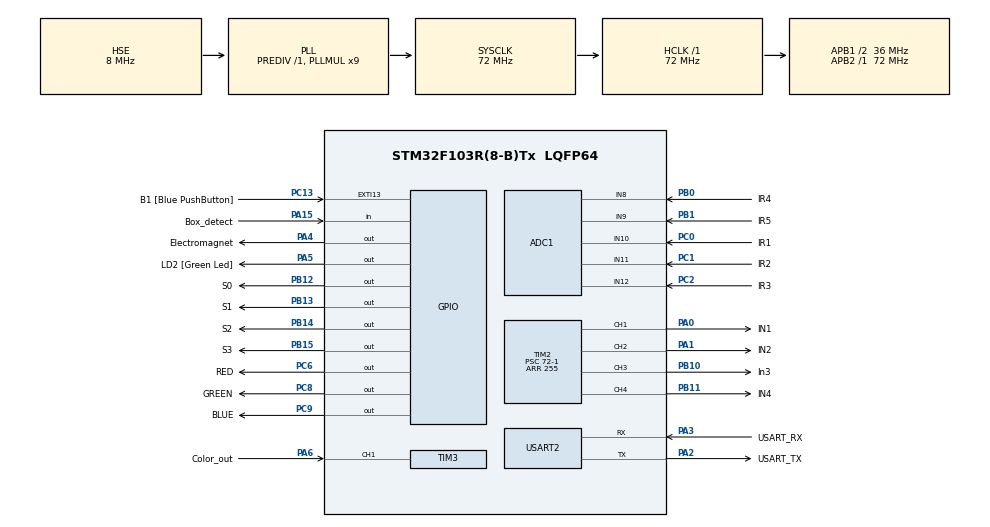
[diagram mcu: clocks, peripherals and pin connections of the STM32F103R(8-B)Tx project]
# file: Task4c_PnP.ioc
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ADC1.Channel-0\#ChannelRegularConversion=ADC_CHANNEL_10
ADC1.Channel-1\#ChannelRegularConversion=ADC_CHANNEL_11
ADC1.Channel-2\#ChannelRegularConversion=ADC_CHANNEL_12
ADC1.Channel-3\#ChannelRegularConversion=ADC_CHANNEL_8
ADC1.Channel-4\#ChannelRegularConversion=ADC_CHANNEL_9
ADC1.ContinuousConvMode=ENABLE
ADC1.NbrOfConversion=5
ADC1.NbrOfConversionFlag=1
ADC1.Rank-0\#ChannelRegularConversion=1
ADC1.Rank-1\#ChannelRegularConversion=2
ADC1.Rank-2\#ChannelRegularConversion=3
ADC1.Rank-3\#ChannelRegularConversion=4
ADC1.Rank-4\#ChannelRegularConversion=5
ADC1.SamplingTime-0\#ChannelRegularConversion=ADC_SAMPLETIME_55CYCLES_5
ADC1.SamplingTime-1\#ChannelRegularConversion=ADC_SAMPLETIME_55CYCLES_5
ADC1.SamplingTime-2\#ChannelRegularConversion=ADC_SAMPLETIME_55CYCLES_5
ADC1.SamplingTime-3\#ChannelRegularConversion=ADC_SAMPLETIME_55CYCLES_5
ADC1.SamplingTime-4\#ChannelRegularConversion=ADC_SAMPLETIME_55CYCLES_5
ADC1.master=1
Dma.ADC1.0.Direction=DMA_PERIPH_TO_MEMORY
Dma.ADC1.0.Instance=DMA1_Channel1
Dma.ADC1.0.MemDataAlignment=DMA_MDATAALIGN_HALFWORD
Dma.ADC1.0.MemInc=DMA_MINC_ENABLE
Dma.ADC1.0.Mode=DMA_CIRCULAR
Dma.ADC1.0.PeriphDataAlignment=DMA_PDATAALIGN_HALFWORD
Dma.ADC1.0.PeriphInc=DMA_PINC_DISABLE
Dma.ADC1.0.Priority=DMA_PRIORITY_LOW
Dma.Request0=ADC1
Mcu.Family=STM32F1
Mcu.Name=STM32F103R(8-B)Tx
Mcu.Package=LQFP64
NVIC.ADC1_2_IRQn=true\:0\:0\:false\:false\:true\:true\:true\:true
NVIC.DMA1_Channel1_IRQn=true\:0\:0\:false\:false\:true\:false\:true\:true
NVIC.EXTI15_10_IRQn=true\:0\:0\:false\:false\:true\:true\:true\:true
NVIC.PriorityGroup=NVIC_PRIORITYGROUP_4
NVIC.TIM3_IRQn=true\:0\:0\:false\:false\:true\:true\:true\:true
PA0-WKUP.GPIO_Label=IN1
PA0-WKUP.Signal=S_TIM2_CH1_ETR
PA1.GPIO_Label=IN2
PA1.Signal=S_TIM2_CH2
PA13.GPIO_Label=TMS
PA13.Mode=Serial_Wire
PA13.Signal=SYS_JTMS-SWDIO
PA14.GPIO_Label=TCK
PA14.Mode=Serial_Wire
PA14.Signal=SYS_JTCK-SWCLK
PA15.GPIO_Label=Box_detect
PA15.Signal=GPIO_Input
PA2.GPIO_Label=USART_TX
PA2.GPIO_Mode=GPIO_MODE_AF_PP
PA2.GPIO_PuPd=GPIO_NOPULL
PA2.GPIO_Speed=GPIO_SPEED_FREQ_LOW
PA2.Mode=Asynchronous
PA2.Signal=USART2_TX
PA3.GPIO_Label=USART_RX
PA3.GPIO_Mode=GPIO_MODE_AF_PP
PA3.GPIO_PuPd=GPIO_NOPULL
PA3.GPIO_Speed=GPIO_SPEED_FREQ_LOW
PA3.Mode=Asynchronous
PA3.Signal=USART2_RX
PA4.GPIO_Label=Electromagnet
PA4.Signal=GPIO_Output
PA5.GPIO_Label=LD2 [Green Led]
PA5.GPIO_ModeDefaultOutputPP=GPIO_MODE_OUTPUT_PP
PA5.GPIO_PuPd=GPIO_NOPULL
PA5.GPIO_Speed=GPIO_SPEED_FREQ_LOW
PA5.Signal=GPIO_Output
PA6.GPIO_Label=Color_out
PA6.Signal=S_TIM3_CH1
PB0.GPIO_Label=IR4
PB0.Signal=ADCx_IN8
PB1.GPIO_Label=IR5
PB1.Signal=ADCx_IN9
PB10.GPIO_Label=In3
PB10.Signal=S_TIM2_CH3
PB11.GPIO_Label=IN4
PB11.Signal=S_TIM2_CH4
PB12.GPIO_Label=S0
PB12.Signal=GPIO_Output
PB13.GPIO_Label=S1
PB13.Signal=GPIO_Output
PB14.GPIO_Label=S2
PB14.Signal=GPIO_Output
PB15.GPIO_Label=S3
PB15.Signal=GPIO_Output
PB3.GPIO_Label=SWO
PB3.Signal=SYS_JTDO-TRACESWO
PC0.GPIO_Label=IR1
PC0.Signal=ADCx_IN10
PC1.GPIO_Label=IR2
PC1.Signal=ADCx_IN11
PC13-TAMPER-RTC.GPIO_Label=B1 [Blue PushButton]
PC13-TAMPER-RTC.GPIO_PuPd=GPIO_NOPULL
PC13-TAMPER-RTC.Signal=GPXTI13
PC14-OSC32_IN.Mode=LSE-External-Oscillator
PC14-OSC32_IN.Signal=RCC_OSC32_IN
PC15-OSC32_OUT.Mode=LSE-External-Oscillator
PC15-OSC32_OUT.Signal=RCC_OSC32_OUT
PC2.GPIO_Label=IR3
PC2.Signal=ADCx_IN12
PC6.GPIO_Label=RED
PC6.Signal=GPIO_Output
PC8.GPIO_Label=GREEN
PC8.Signal=GPIO_Output
PC9.GPIO_Label=BLUE
PC9.Signal=GPIO_Output
PD0-OSC_IN.Mode=HSE-External-Clock-Source
PD0-OSC_IN.Signal=RCC_OSC_IN
PD1-OSC_OUT.Mode=HSE-External-Clock-Source
PD1-OSC_OUT.Signal=RCC_OSC_OUT
ProjectManager.HeapSize=0x200
ProjectManager.StackSize=0x400
ProjectManager.TargetToolchain=STM32CubeIDE
RCC.ADCPresc=RCC_ADCPCLK2_DIV6
RCC.AHBFreq_Value=72000000
RCC.APB1CLKDivider=RCC_HCLK_DIV2
RCC.APB1Freq_Value=36000000
RCC.APB1TimFreq_Value=72000000
RCC.APB2Freq_Value=72000000
RCC.APB2TimFreq_Value=72000000
RCC.HCLKFreq_Value=72000000
RCC.PLLMUL=RCC_PLL_MUL9
RCC.PLLSourceVirtual=RCC_PLLSOURCE_HSE
RCC.RTCClockSelection=RCC_RTCCLKSOURCE_LSE
RCC.SYSCLKFreq_VALUE=72000000
RCC.SYSCLKSource=RCC_SYSCLKSOURCE_PLLCLK
RCC.USBFreq_Value=72000000
SH.ADCx_IN10.0=ADC1_IN10,IN10
SH.ADCx_IN11.0=ADC1_IN11,IN11
SH.ADCx_IN12.0=ADC1_IN12,IN12
SH.ADCx_IN8.0=ADC1_IN8,IN8
SH.ADCx_IN9.0=ADC1_IN9,IN9
SH.S_TIM2_CH1_ETR.0=TIM2_CH1,PWM Generation1 CH1
SH.S_TIM2_CH2.0=TIM2_CH2,PWM Generation2 CH2
SH.S_TIM2_CH3.0=TIM2_CH3,PWM Generation3 CH3
SH.S_TIM2_CH4.0=TIM2_CH4,PWM Generation4 CH4
SH.S_TIM3_CH1.0=TIM3_CH1,Input_Capture1_from_TI1
TIM2.Channel-PWM\ Generation1\ CH1=TIM_CHANNEL_1
TIM2.Channel-PWM\ Generation2\ CH2=TIM_CHANNEL_2
TIM2.Channel-PWM\ Generation3\ CH3=TIM_CHANNEL_3
TIM2.Channel-PWM\ Generation4\ CH4=TIM_CHANNEL_4
TIM2.Period=255
TIM2.Prescaler=72-1
TIM3.Channel-Input_Capture1_from_TI1=TIM_CHANNEL_1
USART2.VirtualMode=VM_ASYNC
board=NUCLEO-F103RB

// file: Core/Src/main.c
/* USER CODE BEGIN Header */
/**
  ******************************************************************************
  * @file : main.c
  * @brief : CropDrop Bot (CB) - eYRC 2025-26
  * PID Line Follower + Box Pickup + Color Detection + First Node Drop (Post-Pickup)
  * White line on black surface - Continuous following with pickup at B, drop at C via first node after B
  * MODIFICATION: All-black emergency drop post-pickup with grace/debounce.
  * LATEST UPDATE: Drop at FIRST node (middle 2-4 white, outers 1/5 black) after pickup to match arena (1 junction B-to-C).
  ******************************************************************************
  */
/* USER CODE END Header */
#include "main.h"
#include <stdio.h>
#include <stdlib.h>
#include <string.h>
#include <math.h>
#include "Color.h"
/* USER CODE BEGIN Includes */
#include <stdbool.h>
/* USER CODE END Includes */
/* USER CODE BEGIN PD */
// PID parameters - tuned for fast and stable following
#define KP 24.0f
#define KI 0.01f
#define KD 40.0f
#define BASE_SPEED 60
#define TURN_BASE_SPEED 60
#define MAX_TURN_DIFF 220
#define SHARP_TURN_THRESHOLD 0.8f
#define TURN_BOOST_FACTOR 2.2f
#define FILTER_ALPHA 0.95f
const uint16_t black_min[5] = {2250, 2400, 2600, 2400, 1400};
const uint16_t white_max[5] = {4000, 4095, 4095, 3900, 3900};
const float weights[5] = {-2.0f, -1.0f, 0.0f, 1.0f, 2.0f};
#define LOOP_DELAY_MS 8
#define LINE_LOST_THRESHOLD 15.0f
#define INTEGRAL_LIMIT 25.0f
#define WHITE_THRESH 90.0f // Increased threshold for perfect white on sensors 2,3,4
#define BLACK_THRESH 20.0f
#define PICKUP_DELAY_MS 1500 // Decreased to 2 seconds stop while picking
#define EXIT_PICKUP_DELAY_MS 800 // Increased to 0.8s for better exit
#define PICKUP_GRACE_LOOPS 100 // Ignore all-black for ~800ms post-pickup
#define BLACK_DEBOUNCE_COUNT 3 // Require 3 consecutive all-black readings
#define DROP_CREEP_MS 200 // Brief forward creep at C for positioning
/* USER CODE END PD */
ADC_HandleTypeDef hadc1;
DMA_HandleTypeDef hdma_adc1;
TIM_HandleTypeDef htim2;
TIM_HandleTypeDef htim3;
UART_HandleTypeDef huart2;
/* USER CODE BEGIN PV */
uint16_t adcBuffer[5];
float reflectance[5];
float integral = 0.0f;
float prev_error = 0.0f;
float filtered_position = 0.0f;
volatile uint8_t adc_complete = 0;
bool picked = false;
uint8_t node_count = 0;
bool at_node_prev = false;
bool dropped = false; // Flag to ensure drop happens only once
uint16_t pickup_exit_count = 0; // Counter for grace period post-pickup
uint8_t black_consec = 0; // Consecutive all-black counter for debouncing
/* USER CODE END PV */
void SystemClock_Config(void);
static void MX_GPIO_Init(void);
static void MX_DMA_Init(void);
static void MX_USART2_UART_Init(void);
static void MX_ADC1_Init(void);
static void MX_TIM2_Init(void);
static void MX_TIM3_Init(void);
/* USER CODE BEGIN PFP */
float NormalizeReflectance(int idx, uint16_t raw);
float CalculatePosition(float *den_out);
void SetMotorSpeeds(int16_t left, int16_t right);
char* FloatToString(float value, int precision, char* buffer, int buf_size);
/* USER CODE END PFP */
/* USER CODE BEGIN 0 */
int __io_putchar(int ch) {
    HAL_UART_Transmit(&huart2, (uint8_t*)&ch, 1, HAL_MAX_DELAY);
    return ch;
}
void HAL_ADC_ConvCpltCallback(ADC_HandleTypeDef* hadc) {
    if (hadc == &hadc1) adc_complete = 1;
}
float NormalizeReflectance(int idx, uint16_t raw) {
    uint16_t min_v = black_min[idx];
    uint16_t max_v = white_max[idx];
    if (raw <= min_v) return 0.0f;
    if (raw >= max_v) return 100.0f;
    return ((float)(raw - min_v) / (max_v - min_v)) * 100.0f;
}
float CalculatePosition(float *den_out) {
    float num = 0.0f, den = 0.0f;
    for (int i = 0; i < 5; i++) {
        float strength = reflectance[i];
        num += strength * weights[i];
        den += strength;
    }
    *den_out = den;
    float raw_pos = (den < LINE_LOST_THRESHOLD) ? filtered_position : (den > 0.0f ? (num / den) : 0.0f);
    float delta = raw_pos - filtered_position;
    if (fabsf(delta) > 0.6f) {
        raw_pos = filtered_position + (delta > 0 ? 0.6f : -0.6f);
    }
    filtered_position = FILTER_ALPHA * filtered_position + (1.0f - FILTER_ALPHA) * raw_pos;
    return filtered_position;
}
void SetMotorSpeeds(int16_t left, int16_t right) {
    if (left < 0) {
        __HAL_TIM_SET_COMPARE(&htim2, TIM_CHANNEL_1, 0);
        __HAL_TIM_SET_COMPARE(&htim2, TIM_CHANNEL_2, (uint8_t)(-left));
    } else {
        __HAL_TIM_SET_COMPARE(&htim2, TIM_CHANNEL_1, (uint8_t)left);
        __HAL_TIM_SET_COMPARE(&htim2, TIM_CHANNEL_2, 0);
    }
    if (right < 0) {
        __HAL_TIM_SET_COMPARE(&htim2, TIM_CHANNEL_3, 0);
        __HAL_TIM_SET_COMPARE(&htim2, TIM_CHANNEL_4, (uint8_t)(-right));
    } else {
        __HAL_TIM_SET_COMPARE(&htim2, TIM_CHANNEL_3, (uint8_t)right);
        __HAL_TIM_SET_COMPARE(&htim2, TIM_CHANNEL_4, 0);
    }
}
char* FloatToString(float value, int precision, char* buffer, int buf_size) {
    if (precision < 0) precision = 0;
    if (precision > 6) precision = 6;
    bool negative = value < 0.0f;
    if (negative) value = -value;
    int int_part = (int)value;
    value -= int_part;
    int frac_part = (int)(value * powf(10.0f, precision) + 0.5f);
    if (negative) {
        snprintf(buffer, buf_size, "-%d.%0*d", int_part, precision, frac_part);
    } else {
        snprintf(buffer, buf_size, "%d.%0*d", int_part, precision, frac_part);
    }
    if (int_part == 0 && frac_part == 0 && negative) {
        buffer[0] = '0'; buffer[1] = '.';
        for (int i = 0; i < precision; i++) buffer[2 + i] = '0';
        buffer[2 + precision] = '\0';
    }
    return buffer;
}
/* USER CODE END 0 */
int main(void)
{
  /* MCU Configuration--------------------------------------------------------*/
  /* Reset of all peripherals, Initializes the Flash interface and the Systick. */
  HAL_Init();
  /* Configure the system clock */
  SystemClock_Config();
  /* Initialize all configured peripherals */
  MX_GPIO_Init();
  MX_DMA_Init();
  MX_USART2_UART_Init();
  MX_ADC1_Init();
  MX_TIM2_Init();
  MX_TIM3_Init();
  /* USER CODE BEGIN 2 */
  HAL_TIM_PWM_Start(&htim2, TIM_CHANNEL_1);
  HAL_TIM_PWM_Start(&htim2, TIM_CHANNEL_2);
  HAL_TIM_PWM_Start(&htim2, TIM_CHANNEL_3);
  HAL_TIM_PWM_Start(&htim2, TIM_CHANNEL_4);
  Color_Init(&htim3); // Initialize TCS3200 color sensor
  HAL_ADC_Start_DMA(&hadc1, (uint32_t*)adcBuffer, 5);
  /* USER CODE END 2 */
  /* Infinite loop */
  /* USER CODE BEGIN WHILE */
  while (1)
  {
    if (adc_complete)
    {
      adc_complete = 0;
      for (int i = 0; i < 5; i++) {
        reflectance[i] = NormalizeReflectance(i, adcBuffer[i]);
      }
      // All-black surface check with grace period and debouncing (emergency post-pickup)
      bool all_black = true;
      for (int i = 0; i < 5; i++) {
        if (reflectance[i] >= BLACK_THRESH) {
          all_black = false;
          break;
        }
      }
      if (picked && pickup_exit_count > 0) {
        pickup_exit_count--;
      }
      if (all_black) {
        black_consec++;
      } else {
        black_consec = 0;
      }
      // Stop bot when all sensors detect black (line lost)
      if (black_consec >= BLACK_DEBOUNCE_COUNT && pickup_exit_count == 0) {
        SetMotorSpeeds(0, 0);
        if (picked && !dropped) {
          HAL_GPIO_WritePin(Electromagnet_GPIO_Port, Electromagnet_Pin, GPIO_PIN_RESET); // Drop box
          dropped = true;
          printf("EMERGENCY DROP AT LINE END!\r\n");
        }
        printf("LINE LOST - STOPPED!\r\n");
        while (1); // Halt
      }
      // 1. Box detection and pickup at B
      if (!picked && HAL_GPIO_ReadPin(Box_detect_GPIO_Port, Box_detect_Pin) == GPIO_PIN_RESET)
      {
        SetMotorSpeeds(0, 0); // Stop
        HAL_GPIO_WritePin(Electromagnet_GPIO_Port, Electromagnet_Pin, GPIO_PIN_SET); // Electromagnet ON
        Color_Detect(); // Detect color & light RGB LED
        HAL_Delay(PICKUP_DELAY_MS); // Wait 2 seconds
        // Exit forward
        SetMotorSpeeds(BASE_SPEED, BASE_SPEED);
        HAL_Delay(EXIT_PICKUP_DELAY_MS);
        picked = true;
        pickup_exit_count = PICKUP_GRACE_LOOPS; // Grace period
        node_count = 0; // Reset for post-pickup nodes
        at_node_prev = false;
        dropped = false;
        black_consec = 0;
      }
      // 2. PID line following
      float den_local = 0.0f;
      float position = CalculatePosition(&den_local);
      float error = position;
      float dt = LOOP_DELAY_MS / 1000.0f;
      if (fabsf(error) > 1.5f) integral = 0.0f;
      integral += error * dt;
      if (integral > INTEGRAL_LIMIT) integral = INTEGRAL_LIMIT;
      if (integral < -INTEGRAL_LIMIT) integral = -INTEGRAL_LIMIT;
      float derivative = (error - prev_error) / dt;
      prev_error = error;
      float pid_out = KP * error + KI * integral + KD * derivative;
      bool is_sharp_turn = fabsf(error) > SHARP_TURN_THRESHOLD;
      if (is_sharp_turn) pid_out *= TURN_BOOST_FACTOR;
      int16_t current_base = is_sharp_turn ? TURN_BASE_SPEED : BASE_SPEED;
      int16_t left_speed = current_base + (int16_t)pid_out;
      int16_t right_speed = current_base - (int16_t)pid_out;
      if (fabsf(error) < 0.3f) {
        left_speed = BASE_SPEED + (int16_t)pid_out;
        right_speed = BASE_SPEED - (int16_t)pid_out;
      }
      int16_t diff = left_speed - right_speed;
      if (diff > MAX_TURN_DIFF) {
        left_speed = current_base + MAX_TURN_DIFF / 2;
        right_speed = current_base - MAX_TURN_DIFF / 2;
      } else if (diff < -MAX_TURN_DIFF) {
        left_speed = current_base - MAX_TURN_DIFF / 2;
        right_speed = current_base + MAX_TURN_DIFF / 2;
      }
      if (left_speed < -20) left_speed = -10;
      if (right_speed < -20) right_speed = -10;
      if (left_speed > 255) left_speed = 255;
      if (right_speed > 255) right_speed = 255;
      // 3. Node detection for stop at C (middle sensors 2,3,4 perfectly white, outers black)
      bool at_node = (reflectance[1] < WHITE_THRESH) &&
                     (reflectance[2] < WHITE_THRESH) &&
                     (reflectance[3] < WHITE_THRESH) &&
                     (reflectance[0] < WHITE_THRESH) &&
                     (reflectance[4] < WHITE_THRESH);
      if (picked && !dropped)
      {
        if (!at_node_prev && at_node) {
          node_count++;
        }
        at_node_prev = at_node;
        // Drop at FIRST node post-pickup (matches 1 junction B-to-C in arena)
        if (node_count >= 1)
        {
          SetMotorSpeeds(20, 20); // Brief creep forward for positioning at C
          HAL_Delay(DROP_CREEP_MS);
          SetMotorSpeeds(0, 0); // Stop
          HAL_GPIO_WritePin(Electromagnet_GPIO_Port, Electromagnet_Pin, GPIO_PIN_RESET); // Drop box
          dropped = true;
          printf("DROPPED AT NODE 1 (POINT C)!\r\n");
          while (1); // Halt
        }
      }
      // 4. Apply motor speeds
      SetMotorSpeeds(left_speed, right_speed);
      // 5. UART debug
      char buf[400];
      char pos_str[20], err_str[20], pid_str[20], den_str[20];
      FloatToString(position, 2, pos_str, sizeof(pos_str));
      FloatToString(error, 2, err_str, sizeof(err_str));
      FloatToString(pid_out, 1, pid_str, sizeof(pid_str));
      FloatToString(den_local, 1, den_str, sizeof(den_str));
      snprintf(buf, sizeof(buf),
               "IR1=%4d IR2=%4d IR3=%4d IR4=%4d IR5=%4d | Pos=%s Err=%s PID=%s L=%3d R=%3d Den=%s Picked=%d NodeCnt=%d AtNode=%d AllBlack=%d PickupExitCnt=%3d BlackConsec=%d\r\n",
               adcBuffer[0], adcBuffer[1], adcBuffer[2], adcBuffer[3], adcBuffer[4],
               pos_str, err_str, pid_str, left_speed, right_speed, den_str,
               picked, node_count, at_node, all_black, pickup_exit_count, black_consec);
      HAL_UART_Transmit(&huart2, (uint8_t*)buf, strlen(buf), HAL_MAX_DELAY);
    }
    HAL_Delay(LOOP_DELAY_MS);
    /* USER CODE END WHILE */
  }
}
/* System and Peripheral Initialization (unchanged) */
void SystemClock_Config(void) {
  RCC_OscInitTypeDef RCC_OscInitStruct = {0};
  RCC_ClkInitTypeDef RCC_ClkInitStruct = {0};
  RCC_PeriphCLKInitTypeDef PeriphClkInit = {0};
  RCC_OscInitStruct.OscillatorType = RCC_OSCILLATORTYPE_HSE;
  RCC_OscInitStruct.HSEState = RCC_HSE_BYPASS;
  RCC_OscInitStruct.HSEPredivValue = RCC_HSE_PREDIV_DIV1;
  RCC_OscInitStruct.HSIState = RCC_HSI_ON;
  RCC_OscInitStruct.PLL.PLLState = RCC_PLL_ON;
  RCC_OscInitStruct.PLL.PLLSource = RCC_PLLSOURCE_HSE;
  RCC_OscInitStruct.PLL.PLLMUL = RCC_PLL_MUL9;
  if (HAL_RCC_OscConfig(&RCC_OscInitStruct) != HAL_OK)
  {
    Error_Handler();
  }
  RCC_ClkInitStruct.ClockType = RCC_CLOCKTYPE_HCLK|RCC_CLOCKTYPE_SYSCLK
                              |RCC_CLOCKTYPE_PCLK1|RCC_CLOCKTYPE_PCLK2;
  RCC_ClkInitStruct.SYSCLKSource = RCC_SYSCLKSOURCE_PLLCLK;
  RCC_ClkInitStruct.AHBCLKDivider = RCC_SYSCLK_DIV1;
  RCC_ClkInitStruct.APB1CLKDivider = RCC_HCLK_DIV2;
  RCC_ClkInitStruct.APB2CLKDivider = RCC_HCLK_DIV1;
  if (HAL_RCC_ClockConfig(&RCC_ClkInitStruct, FLASH_LATENCY_2) != HAL_OK)
  {
    Error_Handler();
  }
  PeriphClkInit.PeriphClockSelection = RCC_PERIPHCLK_ADC;
  PeriphClkInit.AdcClockSelection = RCC_ADCPCLK2_DIV6;
  if (HAL_RCCEx_PeriphCLKConfig(&PeriphClkInit) != HAL_OK)
  {
    Error_Handler();
  }
}
static void MX_ADC1_Init(void)
{
  ADC_ChannelConfTypeDef sConfig = {0};
  hadc1.Instance = ADC1;
  hadc1.Init.ScanConvMode = ADC_SCAN_ENABLE;
  hadc1.Init.ContinuousConvMode = ENABLE;
  hadc1.Init.DiscontinuousConvMode = DISABLE;
  hadc1.Init.ExternalTrigConv = ADC_SOFTWARE_START;
  hadc1.Init.DataAlign = ADC_DATAALIGN_RIGHT;
  hadc1.Init.NbrOfConversion = 5;
  if (HAL_ADC_Init(&hadc1) != HAL_OK)
  {
    Error_Handler();
  }
  sConfig.Channel = ADC_CHANNEL_10;
  sConfig.Rank = ADC_REGULAR_RANK_1;
  sConfig.SamplingTime = ADC_SAMPLETIME_55CYCLES_5;
  if (HAL_ADC_ConfigChannel(&hadc1, &sConfig) != HAL_OK)
  {
    Error_Handler();
  }
  sConfig.Channel = ADC_CHANNEL_11;
  sConfig.Rank = ADC_REGULAR_RANK_2;
  if (HAL_ADC_ConfigChannel(&hadc1, &sConfig) != HAL_OK)
  {
    Error_Handler();
  }
  sConfig.Channel = ADC_CHANNEL_12;
  sConfig.Rank = ADC_REGULAR_RANK_3;
  if (HAL_ADC_ConfigChannel(&hadc1, &sConfig) != HAL_OK)
  {
    Error_Handler();
  }
  sConfig.Channel = ADC_CHANNEL_8;
  sConfig.Rank = ADC_REGULAR_RANK_4;
  if (HAL_ADC_ConfigChannel(&hadc1, &sConfig) != HAL_OK)
  {
    Error_Handler();
  }
  sConfig.Channel = ADC_CHANNEL_9;
  sConfig.Rank = ADC_REGULAR_RANK_5;
  if (HAL_ADC_ConfigChannel(&hadc1, &sConfig) != HAL_OK)
  {
    Error_Handler();
  }
}
static void MX_TIM2_Init(void)
{
  TIM_MasterConfigTypeDef sMasterConfig = {0};
  TIM_OC_InitTypeDef sConfigOC = {0};
  htim2.Instance = TIM2;
  htim2.Init.Prescaler = 72-1;
  htim2.Init.CounterMode = TIM_COUNTERMODE_UP;
  htim2.Init.Period = 255;
  htim2.Init.ClockDivision = TIM_CLOCKDIVISION_DIV1;
  htim2.Init.AutoReloadPreload = TIM_AUTORELOAD_PRELOAD_DISABLE;
  if (HAL_TIM_PWM_Init(&htim2) != HAL_OK)
  {
    Error_Handler();
  }
  sMasterConfig.MasterOutputTrigger = TIM_TRGO_RESET;
  sMasterConfig.MasterSlaveMode = TIM_MASTERSLAVEMODE_DISABLE;
  if (HAL_TIMEx_MasterConfigSynchronization(&htim2, &sMasterConfig) != HAL_OK)
  {
    Error_Handler();
  }
  sConfigOC.OCMode = TIM_OCMODE_PWM1;
  sConfigOC.Pulse = 0;
  sConfigOC.OCPolarity = TIM_OCPOLARITY_HIGH;
  sConfigOC.OCFastMode = TIM_OCFAST_DISABLE;
  if (HAL_TIM_PWM_ConfigChannel(&htim2, &sConfigOC, TIM_CHANNEL_1) != HAL_OK)
  {
    Error_Handler();
  }
  if (HAL_TIM_PWM_ConfigChannel(&htim2, &sConfigOC, TIM_CHANNEL_2) != HAL_OK)
  {
    Error_Handler();
  }
  if (HAL_TIM_PWM_ConfigChannel(&htim2, &sConfigOC, TIM_CHANNEL_3) != HAL_OK)
  {
    Error_Handler();
  }
  if (HAL_TIM_PWM_ConfigChannel(&htim2, &sConfigOC, TIM_CHANNEL_4) != HAL_OK)
  {
    Error_Handler();
  }
  HAL_TIM_MspPostInit(&htim2);
}
static void MX_TIM3_Init(void)
{
  TIM_MasterConfigTypeDef sMasterConfig = {0};
  TIM_IC_InitTypeDef sConfigIC = {0};
  htim3.Instance = TIM3;
  htim3.Init.Prescaler = 0;
  htim3.Init.CounterMode = TIM_COUNTERMODE_UP;
  htim3.Init.Period = 65535;
  htim3.Init.ClockDivision = TIM_CLOCKDIVISION_DIV1;
  htim3.Init.AutoReloadPreload = TIM_AUTORELOAD_PRELOAD_DISABLE;
  if (HAL_TIM_IC_Init(&htim3) != HAL_OK)
  {
    Error_Handler();
  }
  sMasterConfig.MasterOutputTrigger = TIM_TRGO_RESET;
  sMasterConfig.MasterSlaveMode = TIM_MASTERSLAVEMODE_DISABLE;
  if (HAL_TIMEx_MasterConfigSynchronization(&htim3, &sMasterConfig) != HAL_OK)
  {
    Error_Handler();
  }
  sConfigIC.ICPolarity = TIM_INPUTCHANNELPOLARITY_RISING;
  sConfigIC.ICSelection = TIM_ICSELECTION_DIRECTTI;
  sConfigIC.ICPrescaler = TIM_ICPSC_DIV1;
  sConfigIC.ICFilter = 0;
  if (HAL_TIM_IC_ConfigChannel(&htim3, &sConfigIC, TIM_CHANNEL_1) != HAL_OK)
  {
    Error_Handler();
  }
}
static void MX_USART2_UART_Init(void)
{
  huart2.Instance = USART2;
  huart2.Init.BaudRate = 115200;
  huart2.Init.WordLength = UART_WORDLENGTH_8B;
  huart2.Init.StopBits = UART_STOPBITS_1;
  huart2.Init.Parity = UART_PARITY_NONE;
  huart2.Init.Mode = UART_MODE_TX_RX;
  huart2.Init.HwFlowCtl = UART_HWCONTROL_NONE;
  huart2.Init.OverSampling = UART_OVERSAMPLING_16;
  if (HAL_UART_Init(&huart2) != HAL_OK)
  {
    Error_Handler();
  }
}
static void MX_DMA_Init(void)
{
  __HAL_RCC_DMA1_CLK_ENABLE();
  HAL_NVIC_SetPriority(DMA1_Channel1_IRQn, 0, 0);
  HAL_NVIC_EnableIRQ(DMA1_Channel1_IRQn);
}
static void MX_GPIO_Init(void)
{
  GPIO_InitTypeDef GPIO_InitStruct = {0};
  __HAL_RCC_GPIOC_CLK_ENABLE();
  __HAL_RCC_GPIOD_CLK_ENABLE();
  __HAL_RCC_GPIOA_CLK_ENABLE();
  __HAL_RCC_GPIOB_CLK_ENABLE();
  HAL_GPIO_WritePin(GPIOA, Electromagnet_Pin|LD2_Pin, GPIO_PIN_RESET);
  HAL_GPIO_WritePin(GPIOB, S0_Pin|S1_Pin|S2_Pin|S3_Pin, GPIO_PIN_RESET);
  HAL_GPIO_WritePin(GPIOC, RED_Pin|GREEN_Pin|BLUE_Pin, GPIO_PIN_RESET);
  GPIO_InitStruct.Pin = B1_Pin;
  GPIO_InitStruct.Mode = GPIO_MODE_IT_RISING;
  GPIO_InitStruct.Pull = GPIO_NOPULL;
  HAL_GPIO_Init(B1_GPIO_Port, &GPIO_InitStruct);
  GPIO_InitStruct.Pin = Electromagnet_Pin|LD2_Pin;
  GPIO_InitStruct.Mode = GPIO_MODE_OUTPUT_PP;
  GPIO_InitStruct.Pull = GPIO_NOPULL;
  GPIO_InitStruct.Speed = GPIO_SPEED_FREQ_LOW;
  HAL_GPIO_Init(GPIOA, &GPIO_InitStruct);
  GPIO_InitStruct.Pin = S0_Pin|S1_Pin|S2_Pin|S3_Pin;
  GPIO_InitStruct.Mode = GPIO_MODE_OUTPUT_PP;
  GPIO_InitStruct.Pull = GPIO_NOPULL;
  GPIO_InitStruct.Speed = GPIO_SPEED_FREQ_LOW;
  HAL_GPIO_Init(GPIOB, &GPIO_InitStruct);
  GPIO_InitStruct.Pin = RED_Pin|GREEN_Pin|BLUE_Pin;
  GPIO_InitStruct.Mode = GPIO_MODE_OUTPUT_PP;
  GPIO_InitStruct.Pull = GPIO_NOPULL;
  GPIO_InitStruct.Speed = GPIO_SPEED_FREQ_LOW;
  HAL_GPIO_Init(GPIOC, &GPIO_InitStruct);
  GPIO_InitStruct.Pin = Box_detect_Pin;
  GPIO_InitStruct.Mode = GPIO_MODE_INPUT;
  GPIO_InitStruct.Pull = GPIO_NOPULL;
  HAL_GPIO_Init(Box_detect_GPIO_Port, &GPIO_InitStruct);
}
void Error_Handler(void)
{
  __disable_irq();
  while (1)
  {
  }
}
